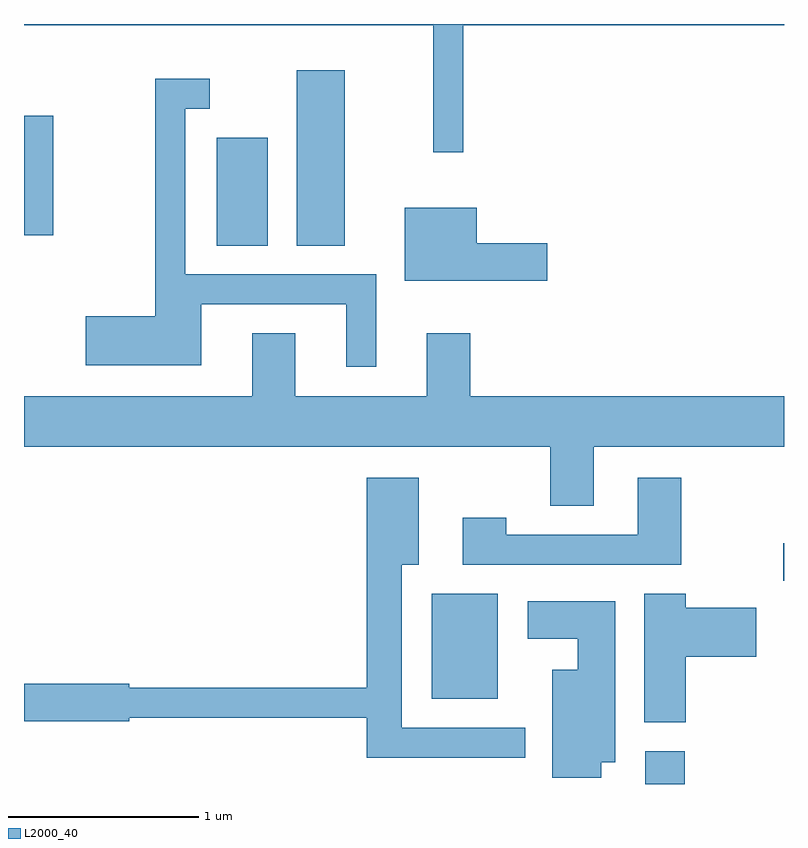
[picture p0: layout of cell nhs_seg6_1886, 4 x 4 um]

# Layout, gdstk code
import gdstk
lib = gdstk.Library(unit=1e-6, precision=1e-09)
def R(c, l, rs):  # rectangles x0, y0, x1, y1
    for r in rs: c.add(gdstk.rectangle(r[:2], r[2:], *l))
def P(c, l, *ps):  # polygons
    for p in ps: c.add(gdstk.Polygon(p, *l))
L2000_40 = (2000, 40)

nhs_seg6_1886 = lib.new_cell('nhs_seg6_1886')
R(nhs_seg6_1886, L2000_40, [(244.881,1648.162,245.089,1648.334), (243.756,1648.611,244.104,1649.164), (245.606,1649.231,245.611,1649.429), (242.626,1650.996,242.894,1651.564), (243.046,1650.996,243.299,1651.919), (241.611,1651.051,241.764,1651.679)])
P(nhs_seg6_1886, L2000_40, [(243.924,1652.156),(245.611,1652.156),(245.611,1652.162),(241.611,1652.162),(241.611,1652.156),(243.766,1652.156),(243.766,1651.488),(243.924,1651.488)],
  [(243.464,1650.844),(242.459,1650.844),(242.459,1651.716),(242.588,1651.716),(242.588,1651.874),(242.301,1651.874),(242.301,1650.624),(241.936,1650.624),(241.936,1650.366),(242.544,1650.366),(242.544,1650.686),(243.306,1650.686),(243.306,1650.358),(243.464,1650.358)],
  [(244.364,1651.009),(243.994,1651.009),(243.994,1651.194),(243.616,1651.194),(243.616,1650.811),(244.364,1650.811)],
  [(244.609,1649.936),(245.611,1649.936),(245.611,1650.204),(243.959,1650.204),(243.959,1650.534),(243.731,1650.534),(243.731,1650.204),(243.039,1650.204),(243.039,1650.534),(242.811,1650.534),(242.811,1650.204),(241.611,1650.204),(241.611,1649.936),(244.381,1649.936),(244.381,1649.626),(244.609,1649.626)],
  [(245.069,1649.774),(244.841,1649.774),(244.841,1649.474),(244.149,1649.474),(244.149,1649.564),(243.921,1649.564),(243.921,1649.316),(245.069,1649.316)],
  [(244.248,1648.459),(243.599,1648.459),(243.599,1649.316),(243.689,1649.316),(243.689,1649.774),(243.416,1649.774),(243.416,1648.669),(242.164,1648.669),(242.164,1648.689),(241.611,1648.689),(241.611,1648.491),(242.164,1648.491),(242.164,1648.511),(243.416,1648.511),(243.416,1648.301),(244.248,1648.301)],
  [(245.094,1648.831),(245.464,1648.831),(245.464,1649.089),(245.094,1649.089),(245.094,1649.164),(244.876,1649.164),(244.876,1648.486),(245.094,1648.486)],
  [(244.649,1648.276),(244.724,1648.276),(244.724,1649.124),(244.261,1649.124),(244.261,1648.926),(244.526,1648.926),(244.526,1648.764),(244.391,1648.764),(244.391,1648.196),(244.649,1648.196)])

lib.write_gds('nhs_seg6_1886.gds')
